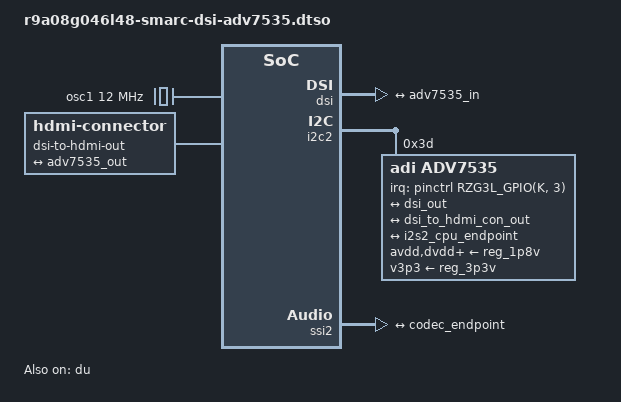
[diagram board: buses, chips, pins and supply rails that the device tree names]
// SPDX-License-Identifier: (GPL-2.0-only OR BSD-2-Clause)
/*
 * Device Tree overlay for the RZ/G3L SMARC EVK with ADV7535
 * connected to DSI and LCDC enabled.
 *
 * Copyright (C) 2026 Renesas Electronics Corp.
 */

/dts-v1/;
/plugin/;

#include <dt-bindings/gpio/gpio.h>
#include <dt-bindings/interrupt-controller/arm-gic.h>
#include <dt-bindings/clock/renesas,r9a08g046-cpg.h>
#include <dt-bindings/pinctrl/renesas,r9a08g046-pinctrl.h>

&{/} {
	osc1: cec-clock {
		compatible = "fixed-clock";
		#clock-cells = <0>;
		clock-frequency = <12000000>;
	};

	dsi-to-hdmi-out {
		compatible = "hdmi-connector";
		type = "d";

		port {
			dsi_to_hdmi_con_out: endpoint {
				remote-endpoint = <&adv7535_out>;
			};
		};
	};

	sound-card {
		compatible = "audio-graph-card";
		label = "HDMI-Audio";
		dais = <&i2s2_port>;
	};
};

&dsi {
	status = "okay";

	ports {
		#address-cells = <1>;
		#size-cells = <0>;

		port@1 {
			reg = <1>;
			dsi_out: endpoint {
				data-lanes = <1 2 3 4>;
				remote-endpoint = <&adv7535_in>;
			};
		};
	};
};

&du {
	status = "okay";
};

&i2c2 {
	#address-cells = <1>;
	#size-cells = <0>;

	adv7535: hdmi@3d {
		compatible = "adi,adv7535";
		reg = <0x3d>;

		interrupts-extended = <&pinctrl RZG3L_GPIO(K, 3) IRQ_TYPE_EDGE_FALLING>;
		clocks = <&osc1>;
		clock-names = "cec";
		avdd-supply = <&reg_1p8v>;
		dvdd-supply = <&reg_1p8v>;
		pvdd-supply = <&reg_1p8v>;
		a2vdd-supply = <&reg_1p8v>;
		v3p3-supply = <&reg_3p3v>;
		v1p2-supply = <&reg_1p8v>;

		adi,dsi-lanes = <4>;

		ports {
			#address-cells = <1>;
			#size-cells = <0>;

			port@0 {
				reg = <0>;
				adv7535_in: endpoint {
					remote-endpoint = <&dsi_out>;
				};
			};

			port@1 {
				reg = <1>;
				adv7535_out: endpoint {
					remote-endpoint = <&dsi_to_hdmi_con_out>;
				};
			};

			port@2 {
				reg = <2>;
				codec_endpoint: endpoint {
					remote-endpoint = <&i2s2_cpu_endpoint>;
				};
			};
		};
	};
};

&pinctrl {
	ssi2_pins: ssi2 {
		pinmux = <RZG3L_PORT_PINMUX(7, 0, 9)>, /* SSIF2_RXD */
			 <RZG3L_PORT_PINMUX(7, 1, 9)>, /* SSIF2_BCK */
			 <RZG3L_PORT_PINMUX(7, 2, 9)>, /* SSIF2_RCK */
			 <RZG3L_PORT_PINMUX(7, 3, 9)>; /* SSIF2_TXD */
	};
};

&ssi2 {
	clocks = <&cpg CPG_MOD R9A08G046_SSI2_PCLK2>,
		 <&cpg CPG_MOD R9A08G046_SSI2_PCLK_SFR>,
		 <&versa3 2>, <&versa3 3>;
	pinctrl-0 = <&ssi2_pins>;
	pinctrl-names = "default";

	status = "okay";

	i2s2_port: port {
		i2s2_cpu_endpoint: endpoint {
			remote-endpoint = <&codec_endpoint>;
			dai-format = "i2s";

			bitclock-master = <&i2s2_cpu_endpoint>;
			frame-master = <&i2s2_cpu_endpoint>;
		};
	};
};
